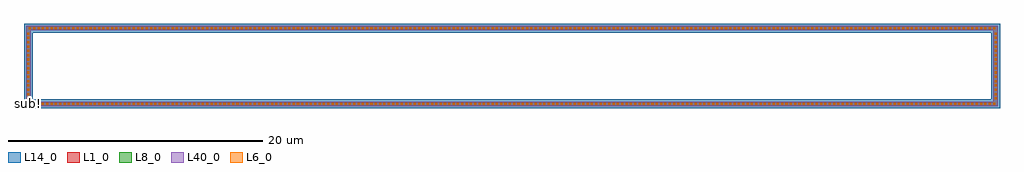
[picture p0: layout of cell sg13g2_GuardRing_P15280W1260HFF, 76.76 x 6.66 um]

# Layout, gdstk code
import gdstk
lib = gdstk.Library(unit=1e-6, precision=1e-09)
def R(c, l, rs):  # rectangles x0, y0, x1, y1
    for r in rs: c.add(gdstk.rectangle(r[:2], r[2:], *l))
def A(c, l, x, y, w, h, nx, ny, dx, dy):  # array of equal rectangles
    R(c, l, [(x+i*dx, y+j*dy, x+i*dx+w, y+j*dy+h) for i in range(nx) for j in range(ny)])
def P(c, l, *ps):  # polygons
    for p in ps: c.add(gdstk.Polygon(p, *l))
L1_0 = (1, 0)
L6_0 = (6, 0)
L8_0 = (8, 0)
L14_0 = (14, 0)
L40_0 = (40, 0)

sg13g2_guardring_p15280w = lib.new_cell('sg13g2_GuardRing_P15280W1260HFF')
P(sg13g2_guardring_p15280w, L1_0, [(-38.2,-3.15),(-38.2,2.81),(-37.86,2.81),(-37.86,-2.81),(37.86,-2.81),(37.86,2.81),(-38.2,2.81),(-38.2,3.15),(38.2,3.15),(38.2,-3.15)])
A(sg13g2_guardring_p15280w, L6_0, -37.99, -3.06, 0.16, 0.16, 224, 2, 0.34, 5.96)
A(sg13g2_guardring_p15280w, L6_0, -38.11, -2.63, 0.16, 0.16, 1, 16, 0, 0.34)
A(sg13g2_guardring_p15280w, L6_0, 37.95, -2.63, 0.16, 0.16, 1, 16, 0, 0.34)
P(sg13g2_guardring_p15280w, L8_0, [(-38.2,-3.15),(-38.2,2.81),(-37.86,2.81),(-37.86,-2.81),(37.86,-2.81),(37.86,2.81),(-38.2,2.81),(-38.2,3.15),(38.2,3.15),(38.2,-3.15)])
P(sg13g2_guardring_p15280w, L14_0, [(-38.38,-3.33),(-38.38,2.63),(-37.68,2.63),(-37.68,-2.63),(37.68,-2.63),(37.68,2.63),(-38.38,2.63),(-38.38,3.33),(38.38,3.33),(38.38,-3.33)])
P(sg13g2_guardring_p15280w, L40_0, [(-38.2,-3.15),(-38.2,2.81),(-37.86,2.81),(-37.86,-2.81),(37.86,-2.81),(37.86,2.81),(-38.2,2.81),(-38.2,3.15),(38.2,3.15),(38.2,-3.15)])
sg13g2_guardring_p15280w.add(gdstk.Label('sub!', (-38.03,-2.98), layer=63, texttype=0))

lib.write_gds('sg13g2_GuardRing_P15280W1260HFF.gds')
